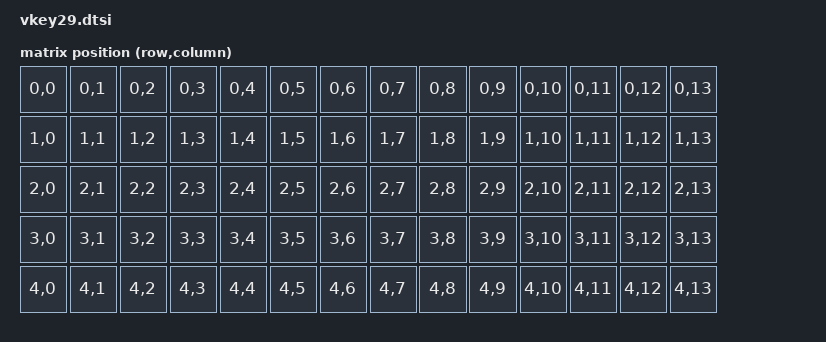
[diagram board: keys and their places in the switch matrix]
#include <zephyr/dt-bindings/pinctrl/nrf-pinctrl.h>
#include <dt-bindings/zmk/matrix_transform.h>

/ {
    chosen {
        zmk,kscan = &kscan0;
        zmk,display = &oled;
        zmk,matrix-transform = &default_transform;
        zmk,physical-layout = &vkey29_layout;
    };

    default_transform: keymap_transform_0 {
        compatible = "zmk,matrix-transform";
        columns = <14>;
        rows = <5>;
        /* Left half: cols 0-6, Right half: cols 7-13. Right overlay sets col-offset = 7. */
        map = <
            RC(0,0)  RC(0,1)  RC(0,2)  RC(0,3)  RC(0,4)  RC(0,5)  RC(0,6)   RC(0,7)  RC(0,8)  RC(0,9)  RC(0,10) RC(0,11) RC(0,12) RC(0,13)
            RC(1,0)  RC(1,1)  RC(1,2)  RC(1,3)  RC(1,4)  RC(1,5)  RC(1,6)   RC(1,7)  RC(1,8)  RC(1,9)  RC(1,10) RC(1,11) RC(1,12) RC(1,13)
            RC(2,0)  RC(2,1)  RC(2,2)  RC(2,3)  RC(2,4)  RC(2,5)  RC(2,6)   RC(2,7)  RC(2,8)  RC(2,9)  RC(2,10) RC(2,11) RC(2,12) RC(2,13)
            RC(3,0)  RC(3,1)  RC(3,2)  RC(3,3)  RC(3,4)  RC(3,5)  RC(3,6)   RC(3,7)  RC(3,8)  RC(3,9)  RC(3,10) RC(3,11) RC(3,12) RC(3,13)
            RC(4,0)  RC(4,1)  RC(4,2)  RC(4,3)  RC(4,4)  RC(4,5)  RC(4,6)   RC(4,7)  RC(4,8)  RC(4,9)  RC(4,10) RC(4,11) RC(4,12) RC(4,13)
        >;
    };

    vkey29_layout: physical_layout_0 {
        compatible = "zmk,physical-layout";
        display-name = "Default";
        transform = <&default_transform>;
        kscan = <&kscan0>;
    };

    kscan0: kscan {
        compatible = "zmk,kscan-gpio-matrix";
        label = "KSCAN";
        diode-direction = "col2row";
    };
};

/* nice!nano I2C pins (P0.0 SDA, P0.1 SCL) via pinctrl for Zephyr 3.5+ */
&pinctrl {
    i2c0_default: i2c0_default {
        group1 {
            psels = <NRF_PSEL(TWIM_SDA, 0, 0)>,
                    <NRF_PSEL(TWIM_SCL, 0, 1)>;
        };
    };
    i2c0_sleep: i2c0_sleep {
        group1 {
            psels = <NRF_PSEL(TWIM_SDA, 0, 0)>,
                    <NRF_PSEL(TWIM_SCL, 0, 1)>;
            low-power-enable;
        };
    };
};

&i2c0 {
    status = "okay";
    pinctrl-0 = <&i2c0_default>;
    pinctrl-1 = <&i2c0_sleep>;
    pinctrl-names = "default", "sleep";

    oled: oled@3c {
        compatible = "solomon,ssd1306fb";
        reg = <0x3c>;
        width = <128>;
        height = <64>;
        segment-offset = <0>;
        page-offset = <0>;
        display-offset = <0>;
        multiplex-ratio = <63>;
        segment-remap;
        com-invdir;
        com-sequential;
        prechargep = <0x22>;
    };
};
